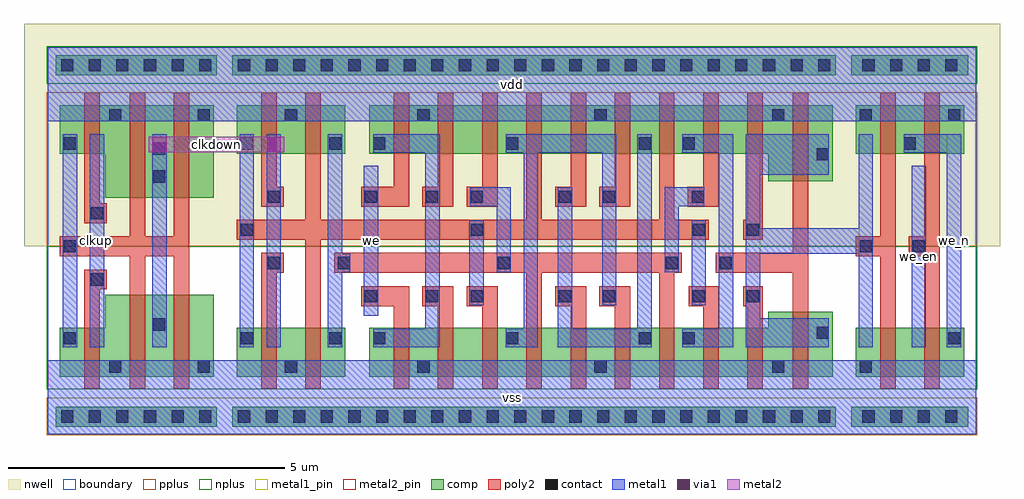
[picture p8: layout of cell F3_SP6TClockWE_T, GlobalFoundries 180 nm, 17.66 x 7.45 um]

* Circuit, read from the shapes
.subckt F3_SP6TClockWE_T clkdown clkup vdd vss we we_en we_n
XM1 vss clkup n1 vss nfet_03v3 w=0.88u l=0.28u
XM2 clkdown n1 vss vss nfet_03v3 w=1.475u l=0.28u m=2
XM3 vss clkdown n2 vss nfet_03v3 w=0.88u l=0.28u
XM4 n3 n2 vss vss nfet_03v3 w=0.88u l=0.28u
XM5 vss we n4 vss nfet_03v3 w=0.88u l=0.28u
XM6 n5 n4 vss vss nfet_03v3 w=0.88u l=0.28u
XM7 n6 n2 n5 vss nfet_03v3 w=0.88u l=0.28u
XM8 n7 n3 n6 vss nfet_03v3 w=0.88u l=0.28u
XM9 vss n8 n7 vss nfet_03v3 w=0.88u l=0.28u
XM10 n8 n6 vss vss nfet_03v3 w=0.88u l=0.28u
XM11 n9 n3 n8 vss nfet_03v3 w=0.88u l=0.28u
XM12 n10 n2 n9 vss nfet_03v3 w=0.88u l=0.28u
XM13 vss F3_nand2_x0_0/i0 n10 vss nfet_03v3 w=0.88u l=0.28u
XM14 F3_nand2_x0_0/i0 n9 vss vss nfet_03v3 w=1.175u l=0.28u
XM15 n11 F3_nand2_x0_0/i0 vss vss nfet_03v3 w=0.88u l=0.28u
XM16 we_n we_en n11 vss nfet_03v3 w=0.88u l=0.28u
XM17 vdd clkup n1 vdd pfet_03v3 w=0.88u l=0.28u
XM18 clkdown n1 vdd vdd pfet_03v3 w=1.675u l=0.28u m=2
XM19 vdd clkdown n2 vdd pfet_03v3 w=0.88u l=0.28u
XM20 n3 n2 vdd vdd pfet_03v3 w=0.88u l=0.28u
XM21 vdd we n4 vdd pfet_03v3 w=0.88u l=0.28u
XM22 n12 n4 vdd vdd pfet_03v3 w=0.88u l=0.28u
XM23 n6 n3 n12 vdd pfet_03v3 w=0.88u l=0.28u
XM24 n13 n2 n6 vdd pfet_03v3 w=0.88u l=0.28u
XM25 vdd n8 n13 vdd pfet_03v3 w=0.88u l=0.28u
XM26 n8 n6 vdd vdd pfet_03v3 w=0.88u l=0.28u
XM27 n9 n2 n8 vdd pfet_03v3 w=0.88u l=0.28u
XM28 n14 n3 n9 vdd pfet_03v3 w=0.88u l=0.28u
XM29 vdd F3_nand2_x0_0/i0 n14 vdd pfet_03v3 w=0.88u l=0.28u
XM30 F3_nand2_x0_0/i0 n9 vdd vdd pfet_03v3 w=1.375u l=0.28u
XM31 we_n F3_nand2_x0_0/i0 vdd vdd pfet_03v3 w=0.88u l=0.28u
XM32 vdd we_en we_n vdd pfet_03v3 w=0.88u l=0.28u
.ends

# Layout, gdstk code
import gdstk
lib = gdstk.Library(unit=1e-6, precision=1e-09)
def R(c, l, rs):  # rectangles x0, y0, x1, y1
    for r in rs: c.add(gdstk.rectangle(r[:2], r[2:], *l))
def A(c, l, x, y, w, h, nx, ny, dx, dy):  # array of equal rectangles
    R(c, l, [(x+i*dx, y+j*dy, x+i*dx+w, y+j*dy+h) for i in range(nx) for j in range(ny)])
def P(c, l, *ps):  # polygons
    for p in ps: c.add(gdstk.Polygon(p, *l))
boundary = (0, 0)
nwell = (21, 0)
comp = (22, 0)
poly2 = (30, 0)
pplus = (31, 0)
nplus = (32, 0)
contact = (33, 0)
metal1 = (34, 0)
metal1_pin = (34, 10)
via1 = (35, 0)
metal2 = (36, 0)
metal2_pin = (36, 10)

f3_nand2_x0 = lib.new_cell('F3_nand2_x0')
R(f3_nand2_x0, nwell, [(-0.43,3.4,2.83,7.43)])
R(f3_nand2_x0, comp, [(0.14,0.14,2.26,0.5), (0.22,1.045,2.18,1.925), (0.22,5.075,2.18,5.955), (0.14,6.5,2.26,6.86)])
P(f3_nand2_x0, poly2, [(1.46,0.825),(1.46,3.22),(1.18,3.22),(1.18,3.58),(1.46,3.58),(1.46,6.175),(1.74,6.175),(1.74,0.825)],
  [(0.66,0.825),(0.66,3.22),(0.22,3.22),(0.22,3.58),(0.66,3.58),(0.66,6.175),(0.94,6.175),(0.94,0.825)])
R(f3_nand2_x0, pplus, [(-0.02,-0.02,2.42,0.66), (-0.02,3.4,2.42,6.185)])
R(f3_nand2_x0, nplus, [(-0.02,0.815,2.42,3.4), (-0.02,6.34,2.42,7.02)])
A(f3_nand2_x0, contact, 0.34, 0.21, 0.22, 0.22, 4, 2, 0.5, 6.36)
R(f3_nand2_x0, contact, [(0.29,1.115,0.51,1.335), (1.89,1.63,2.11,1.85), (0.29,3.29,0.51,3.51), (1.25,3.29,1.47,3.51), (1.09,5.15,1.31,5.37), (0.29,5.665,0.51,5.885), (1.89,5.665,2.11,5.885)])
R(f3_nand2_x0, metal1, [(0,0,2.4,1.34), (0.27,1.57,0.53,5.43), (1.23,1.57,1.49,4.86), (0,5.66,2.4,7)])
P(f3_nand2_x0, metal1, [(1.87,1.57),(1.87,5.09),(1.085,5.09),(1.085,5.43),(2.13,5.43),(2.13,1.57)])
R(f3_nand2_x0, metal1_pin, [(0,0,2.4,1.34), (0.27,1.57,0.53,5.43), (1.23,1.57,1.49,4.86), (1.87,1.57,2.13,5.43), (0,5.66,2.4,7)])
f3_nand2_x0.add(gdstk.Label('nq', (2,3.5), layer=34, texttype=10))
f3_nand2_x0.add(gdstk.Label('i1', (1.36,3.215), layer=34, texttype=10))
f3_nand2_x0.add(gdstk.Label('i0', (0.4,3.5), layer=34, texttype=10))
f3_nand2_x0.add(gdstk.Label('vdd', (1.2,6.33), layer=34, texttype=10))
f3_nand2_x0.add(gdstk.Label('vss', (1.2,0.67), layer=34, texttype=10))

f3_dff_x1 = lib.new_cell('F3_dff_x1')
R(f3_dff_x1, nwell, [(-0.43,3.4,11.63,7.43)])
R(f3_dff_x1, comp, [(0.14,0.14,11.06,0.5), (0.22,1.045,2.18,1.925), (0.22,5.075,2.18,5.955), (0.14,6.5,11.06,6.86)])
P(f3_dff_x1, comp, [(2.62,1.045),(2.62,1.925),(9.84,1.925),(9.84,2.22),(11,2.22),(11,1.045)],
  [(9.84,4.58),(9.84,5.075),(2.62,5.075),(2.62,5.955),(11,5.955),(11,4.58)])
P(f3_dff_x1, poly2, [(9.46,0.825),(9.46,2.32),(9.38,2.32),(9.38,2.68),(9.74,2.68),(9.74,0.825)],
  [(10.28,0.825),(10.28,2.92),(8.89,2.92),(8.89,3.28),(10.28,3.28),(10.28,6.175),(10.56,6.175),(10.56,0.825)],
  [(2.47,4.12),(2.47,4.48),(3.06,4.48),(3.06,6.175),(3.34,6.175),(3.34,4.12)],
  [(3.06,0.825),(3.06,2.32),(2.47,2.32),(2.47,2.68),(3.34,2.68),(3.34,0.825)],
  [(9.38,3.52),(9.38,3.88),(9.46,3.88),(9.46,6.175),(9.74,6.175),(9.74,3.52)],
  [(3.58,4.12),(3.58,4.48),(3.86,4.48),(3.86,6.175),(4.14,6.175),(4.14,4.12)],
  [(4.38,4.12),(4.38,4.48),(4.66,4.48),(4.66,6.175),(4.94,6.175),(4.94,4.12)],
  [(5.98,4.12),(5.98,4.48),(6.26,4.48),(6.26,6.175),(6.54,6.175),(6.54,4.12)],
  [(6.78,4.12),(6.78,4.48),(7.06,4.48),(7.06,6.175),(7.34,6.175),(7.34,4.12)],
  [(8.38,4.12),(8.38,4.48),(8.66,4.48),(8.66,6.175),(8.94,6.175),(8.94,4.12)],
  [(5.46,0.825),(5.46,2.92),(1.98,2.92),(1.98,3.28),(8.27,3.28),(8.27,2.92),(8.14,2.92),(8.14,0.825),(7.86,0.825),(7.86,2.92),(5.74,2.92),(5.74,0.825)],
  [(0.66,0.825),(0.66,3.28),(1.07,3.28),(1.07,2.92),(0.94,2.92),(0.94,0.825)],
  [(0.66,4.12),(0.66,6.175),(0.94,6.175),(0.94,4.48),(1.07,4.48),(1.07,4.12)],
  [(3.86,0.825),(3.86,2.32),(3.58,2.32),(3.58,2.68),(4.14,2.68),(4.14,0.825)],
  [(4.66,0.825),(4.66,2.32),(4.38,2.32),(4.38,2.68),(4.94,2.68),(4.94,0.825)],
  [(6.26,0.825),(6.26,2.32),(5.98,2.32),(5.98,2.68),(6.54,2.68),(6.54,0.825)],
  [(7.06,0.825),(7.06,2.32),(6.78,2.32),(6.78,2.68),(7.34,2.68),(7.34,0.825)],
  [(8.66,0.825),(8.66,2.32),(8.4,2.32),(8.4,2.68),(8.94,2.68),(8.94,0.825)],
  [(1.46,0.825),(1.46,3.52),(0.22,3.52),(0.22,3.88),(1.46,3.88),(1.46,6.175),(1.74,6.175),(1.74,3.88),(5.46,3.88),(5.46,6.175),(5.74,6.175),(5.74,3.88),(7.86,3.88),(7.86,6.175),(8.14,6.175),(8.14,3.88),(8.76,3.88),(8.76,3.52),(1.74,3.52),(1.74,0.825)])
R(f3_dff_x1, pplus, [(-0.02,-0.02,11.22,0.66), (-0.02,3.4,11.22,6.185)])
R(f3_dff_x1, nplus, [(-0.02,0.815,11.22,3.4), (-0.02,6.34,11.22,7.02)])
A(f3_dff_x1, contact, 0.24, 0.21, 0.22, 0.22, 22, 2, 0.5, 6.36)
A(f3_dff_x1, contact, 2.69, 1.63, 0.22, 0.22, 3, 2, 2.4, 3.52)
R(f3_dff_x1, contact, [(1.09,1.115,1.31,1.335), (3.49,1.115,3.71,1.335), (6.69,1.115,6.91,1.335), (9.91,1.115,10.13,1.335), (0.29,1.63,0.51,1.85), (1.89,1.63,2.11,1.85), (8.29,1.63,8.51,1.85), (10.71,1.725,10.93,1.945), (2.54,2.39,2.76,2.61), (3.65,2.39,3.87,2.61), (4.45,2.39,4.67,2.61), (6.05,2.39,6.27,2.61), (6.85,2.39,7.07,2.61), (8.47,2.39,8.69,2.61), (9.45,2.39,9.67,2.61), (0.78,2.99,1,3.21), (2.05,2.99,2.27,3.21), (4.94,2.99,5.16,3.21), (7.98,2.99,8.2,3.21), (8.96,2.99,9.18,3.21), (0.29,3.59,0.51,3.81), (4.45,3.59,4.67,3.81), (8.47,3.59,8.69,3.81), (9.45,3.59,9.67,3.81), (0.78,4.19,1,4.41), (2.54,4.19,2.76,4.41), (3.65,4.19,3.87,4.41), (4.45,4.19,4.67,4.41), (6.05,4.19,6.27,4.41), (6.85,4.19,7.07,4.41), (8.45,4.19,8.67,4.41), (10.71,4.955,10.93,5.175), (0.29,5.15,0.51,5.37), (1.89,5.15,2.11,5.37), (8.29,5.15,8.51,5.37), (1.09,5.665,1.31,5.885), (3.49,5.665,3.71,5.885), (6.69,5.665,6.91,5.885), (9.91,5.665,10.13,5.885)])
R(f3_dff_x1, metal1, [(0,0,11.2,1.34), (0.27,1.57,0.53,5.43), (0.76,1.57,1.02,5.43), (2.52,2.14,2.78,4.86), (4.43,2.33,4.69,3.87), (8.45,2.33,8.71,3.87), (0,5.66,11.2,7)])
P(f3_dff_x1, metal1, [(9.43,1.57),(9.43,5.43),(10.935,5.43),(10.935,4.7),(9.69,4.7),(9.69,2.1),(10.935,2.1),(10.935,1.57)],
  [(8.285,1.57),(8.285,1.91),(8.94,1.91),(8.94,5.09),(8.285,5.09),(8.285,5.43),(9.2,5.43),(9.2,1.57)],
  [(6.03,1.57),(6.03,4.47),(6.29,4.47),(6.29,1.91),(7.47,1.91),(7.47,5.43),(7.73,5.43),(7.73,1.57)],
  [(5.085,1.57),(5.085,1.91),(5.41,1.91),(5.41,5.09),(5.085,5.09),(5.085,5.43),(7.09,5.43),(7.09,2.33),(6.83,2.33),(6.83,5.09),(5.67,5.09),(5.67,1.57)],
  [(2.685,1.57),(2.685,1.91),(3.63,1.91),(3.63,5.09),(2.685,5.09),(2.685,5.43),(3.89,5.43),(3.89,1.57)],
  [(7.96,2.93),(7.96,4.47),(8.675,4.47),(8.675,4.13),(8.22,4.13),(8.22,2.93)],
  [(4.92,2.93),(4.92,4.13),(4.445,4.13),(4.445,4.47),(5.18,4.47),(5.18,2.93)],
  [(1.87,1.57),(1.87,5.43),(2.13,5.43),(2.13,3.27),(2.275,3.27),(2.275,2.93),(2.13,2.93),(2.13,1.57)])
R(f3_dff_x1, metal1_pin, [(0,0,11.2,1.34), (0.76,1.57,1.02,5.43), (9.43,1.57,9.69,5.43), (2.52,2.14,2.78,4.86), (0,5.66,11.2,7)])
f3_dff_x1.add(gdstk.Label('q', (9.56,3.5), layer=34, texttype=10))
f3_dff_x1.add(gdstk.Label('i', (2.65,3.5), layer=34, texttype=10))
f3_dff_x1.add(gdstk.Label('clk', (0.89,3.5), layer=34, texttype=10))
f3_dff_x1.add(gdstk.Label('vss', (5.6,0.67), layer=34, texttype=10))
f3_dff_x1.add(gdstk.Label('vdd', (5.6,6.33), layer=34, texttype=10))

f3_buf_x2 = lib.new_cell('F3_buf_x2')
R(f3_buf_x2, nwell, [(-0.43,3.4,3.63,7.43)])
R(f3_buf_x2, comp, [(0.14,0.14,3.06,0.5), (0.14,6.5,3.06,6.86)])
P(f3_buf_x2, comp, [(1.04,4.28),(1.04,5.075),(0.22,5.075),(0.22,5.955),(3,5.955),(3,4.28)],
  [(0.22,1.045),(0.22,1.925),(1.04,1.925),(1.04,2.52),(3,2.52),(3,1.045)])
P(f3_buf_x2, poly2, [(0.66,3.82),(0.66,6.175),(0.94,6.175),(0.94,4.18),(1.07,4.18),(1.07,3.82)],
  [(0.66,0.825),(0.66,2.98),(1.07,2.98),(1.07,2.62),(0.94,2.62),(0.94,0.825)],
  [(1.48,0.825),(1.48,3.22),(0.22,3.22),(0.22,3.58),(1.48,3.58),(1.48,6.175),(1.76,6.175),(1.76,3.58),(2.28,3.58),(2.28,6.175),(2.56,6.175),(2.56,0.825),(2.28,0.825),(2.28,3.22),(1.76,3.22),(1.76,0.825)])
R(f3_buf_x2, pplus, [(-0.02,-0.02,3.22,0.66), (-0.02,3.4,3.22,6.185)])
R(f3_buf_x2, nplus, [(-0.02,0.815,3.22,3.4), (-0.02,6.34,3.22,7.02)])
A(f3_buf_x2, contact, 0.24, 0.21, 0.22, 0.22, 6, 2, 0.5, 6.36)
R(f3_buf_x2, contact, [(1.11,1.115,1.33,1.335), (2.71,1.115,2.93,1.335), (0.29,1.63,0.51,1.85), (1.91,1.875,2.13,2.095), (0.78,2.69,1,2.91), (0.29,3.29,0.51,3.51), (0.78,3.89,1,4.11), (1.91,4.555,2.13,4.775), (1.91,5.055,2.13,5.275), (0.29,5.15,0.51,5.37), (1.11,5.665,1.33,5.885), (2.71,5.665,2.93,5.885)])
R(f3_buf_x2, metal1, [(0,0,3.2,1.34), (0.27,1.57,0.53,5.43), (0.76,1.57,1.02,5.43), (1.89,1.57,2.15,5.43), (0,5.66,3.2,7)])
R(f3_buf_x2, metal1_pin, [(0,0,3.2,1.34), (0.76,1.57,1.02,5.43), (1.89,1.57,2.15,5.43), (0,5.66,3.2,7)])
f3_buf_x2.add(gdstk.Label('q', (2.02,3.5), layer=34, texttype=10))
f3_buf_x2.add(gdstk.Label('i', (0.89,3.5), layer=34, texttype=10))
f3_buf_x2.add(gdstk.Label('vss', (1.6,0.67), layer=34, texttype=10))
f3_buf_x2.add(gdstk.Label('vdd', (1.6,6.33), layer=34, texttype=10))

f3_sp6tclockwe_t = lib.new_cell('F3_SP6TClockWE_T')
R(f3_sp6tclockwe_t, boundary, [(0,0,16.8,7)])
R(f3_sp6tclockwe_t, metal1, [(0,0,16.8,1.34), (0.76,1.57,1.02,5.43), (15.63,1.57,15.89,4.86), (16.27,1.57,16.53,5.43), (5.72,2.14,5.98,4.86), (12.76,3.27,14.8,3.73), (1.89,5.05,2.15,5.43), (3.96,5.05,4.22,5.43), (0,5.66,16.8,7)])
R(f3_sp6tclockwe_t, metal1_pin, [(0,0,16.8,1.34), (0.76,1.57,1.02,5.43), (15.63,1.57,15.89,4.86), (16.27,1.57,16.53,5.43), (5.72,2.14,5.98,4.86), (0,5.66,16.8,7)])
R(f3_sp6tclockwe_t, via1, [(1.89,5.11,2.15,5.37), (3.96,5.11,4.22,5.37)])
R(f3_sp6tclockwe_t, metal2, [(1.83,5.1,4.28,5.38)])
R(f3_sp6tclockwe_t, metal2_pin, [(1.83,5.1,4.28,5.38)])
f3_sp6tclockwe_t.add(gdstk.Reference(f3_nand2_x0, (14.4,0)))
f3_sp6tclockwe_t.add(gdstk.Reference(f3_dff_x1, (3.2,0)))
f3_sp6tclockwe_t.add(gdstk.Reference(f3_buf_x2, (0,0)))
f3_sp6tclockwe_t.add(gdstk.Label('vdd', (8.4,6.33), layer=34, texttype=10))
f3_sp6tclockwe_t.add(gdstk.Label('vss', (8.4,0.67), layer=34, texttype=10))
f3_sp6tclockwe_t.add(gdstk.Label('we_n', (16.4,3.5), layer=34, texttype=10))
f3_sp6tclockwe_t.add(gdstk.Label('we_en', (15.76,3.215), layer=34, texttype=10))
f3_sp6tclockwe_t.add(gdstk.Label('we', (5.85,3.5), layer=34, texttype=10))
f3_sp6tclockwe_t.add(gdstk.Label('clkup', (0.89,3.5), layer=34, texttype=10))
f3_sp6tclockwe_t.add(gdstk.Label('clkdown', (3.055,5.24), layer=36, texttype=10))

lib.write_gds('F3_SP6TClockWE_T.gds')
